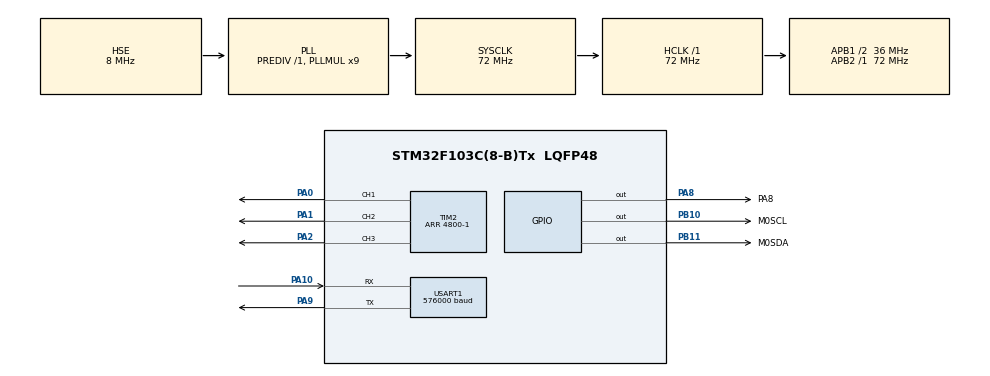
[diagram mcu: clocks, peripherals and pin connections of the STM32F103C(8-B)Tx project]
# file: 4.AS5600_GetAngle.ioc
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Dma.Request0=USART1_TX
Dma.USART1_TX.0.Direction=DMA_MEMORY_TO_PERIPH
Dma.USART1_TX.0.Instance=DMA1_Channel4
Dma.USART1_TX.0.MemDataAlignment=DMA_MDATAALIGN_BYTE
Dma.USART1_TX.0.MemInc=DMA_MINC_ENABLE
Dma.USART1_TX.0.Mode=DMA_NORMAL
Dma.USART1_TX.0.PeriphDataAlignment=DMA_PDATAALIGN_BYTE
Dma.USART1_TX.0.PeriphInc=DMA_PINC_DISABLE
Dma.USART1_TX.0.Priority=DMA_PRIORITY_LOW
Mcu.Family=STM32F1
Mcu.Name=STM32F103C(8-B)Tx
Mcu.Package=LQFP48
NVIC.DMA1_Channel4_IRQn=true\:0\:0\:false\:false\:true\:false\:true\:true
NVIC.PriorityGroup=NVIC_PRIORITYGROUP_4
NVIC.TIM4_IRQn=true\:0\:0\:false\:false\:true\:true\:true\:true
NVIC.USART1_IRQn=true\:0\:0\:false\:false\:true\:true\:true\:true
PA0-WKUP.Signal=S_TIM2_CH1_ETR
PA1.Signal=S_TIM2_CH2
PA10.Mode=Asynchronous
PA10.Signal=USART1_RX
PA13.Mode=Serial_Wire
PA13.Signal=SYS_JTMS-SWDIO
PA14.Mode=Serial_Wire
PA14.Signal=SYS_JTCK-SWCLK
PA2.Signal=S_TIM2_CH3
PA8.GPIO_Label=PA8
PA8.PinState=GPIO_PIN_SET
PA8.Signal=GPIO_Output
PA9.Mode=Asynchronous
PA9.Signal=USART1_TX
PB10.GPIO_Label=M0SCL
PB10.GPIO_ModeDefaultOutputPP=GPIO_MODE_OUTPUT_OD
PB10.GPIO_PuPd=GPIO_NOPULL
PB10.GPIO_Speed=GPIO_SPEED_FREQ_HIGH
PB10.PinState=GPIO_PIN_SET
PB10.Signal=GPIO_Output
PB11.GPIO_Label=M0SDA
PB11.GPIO_ModeDefaultOutputPP=GPIO_MODE_OUTPUT_OD
PB11.GPIO_PuPd=GPIO_NOPULL
PB11.GPIO_Speed=GPIO_SPEED_FREQ_HIGH
PB11.PinState=GPIO_PIN_SET
PB11.Signal=GPIO_Output
PD0-OSC_IN.Mode=HSE-External-Oscillator
PD0-OSC_IN.Signal=RCC_OSC_IN
PD1-OSC_OUT.Mode=HSE-External-Oscillator
PD1-OSC_OUT.Signal=RCC_OSC_OUT
ProjectManager.HeapSize=0x200
ProjectManager.StackSize=0x400
ProjectManager.TargetToolchain=STM32CubeIDE
RCC.AHBFreq_Value=72000000
RCC.APB1CLKDivider=RCC_HCLK_DIV2
RCC.APB1Freq_Value=36000000
RCC.APB1TimFreq_Value=72000000
RCC.APB2Freq_Value=72000000
RCC.APB2TimFreq_Value=72000000
RCC.HCLKFreq_Value=72000000
RCC.PLLMUL=RCC_PLL_MUL9
RCC.PLLSourceVirtual=RCC_PLLSOURCE_HSE
RCC.SYSCLKFreq_VALUE=72000000
RCC.SYSCLKSource=RCC_SYSCLKSOURCE_PLLCLK
RCC.USBFreq_Value=72000000
SH.S_TIM2_CH1_ETR.0=TIM2_CH1,PWM Generation1 CH1
SH.S_TIM2_CH2.0=TIM2_CH2,PWM Generation2 CH2
SH.S_TIM2_CH3.0=TIM2_CH3,PWM Generation3 CH3
TIM2.Channel-PWM\ Generation1\ CH1=TIM_CHANNEL_1
TIM2.Channel-PWM\ Generation2\ CH2=TIM_CHANNEL_2
TIM2.Channel-PWM\ Generation3\ CH3=TIM_CHANNEL_3
TIM2.Period=4800-1
TIM4.Period=1000-1
TIM4.Prescaler=72-1
USART1.BaudRate=576000
USART1.VirtualMode=VM_ASYNC
VP_TIM2_VS_ClockSourceINT.Mode=Internal
VP_TIM4_VS_ClockSourceINT.Mode=Internal
board=custom

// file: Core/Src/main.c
/* USER CODE BEGIN Header */
/**
  ******************************************************************************
  * @file           : main.c
  * @brief          : Main program body
  ******************************************************************************
  * @attention
  *
  * Copyright (c) 2025 STMicroelectronics.
  * All rights reserved.
  *
  * This software is licensed under terms that can be found in the LICENSE file
  * in the root directory of this software component.
  * If no LICENSE file comes with this software, it is provided AS-IS.
  *
  ******************************************************************************
  */
/* USER CODE END Header */
#include "main.h"
#include "dma.h"
#include "tim.h"
#include "usart.h"
#include "gpio.h"

/* USER CODE BEGIN Includes */
#include "../hhSerial/hhSerial.h"
#include "../hhPwm/hhPwm.h"
#include "../hhFoc/hhFoc.h"
#include "../hhAS5600/hhAS5600.h"
#include"math.h"
#include "mystrop.h"
/* USER CODE END Includes */

/* USER CODE BEGIN PV */
uint8_t  Flag_1ms=0;
void HAL_TIM_PeriodElapsedCallback(TIM_HandleTypeDef *htim){
	if(htim==&htim4){
		Flag_1ms=1;
	}
}
/* USER CODE END PV */

void SystemClock_Config(void);

/* USER CODE BEGIN 0 */
int CountOutPut = 0;
/* USER CODE END 0 */

int main(void)
{

  /* MCU Configuration--------------------------------------------------------*/

  /* Reset of all peripherals, Initializes the Flash interface and the Systick. */
  HAL_Init();

  /* Configure the system clock */
  SystemClock_Config();

  /* Initialize all configured peripherals */
  MX_GPIO_Init();
  MX_DMA_Init();
  MX_USART1_UART_Init();
  MX_TIM2_Init();
  MX_TIM4_Init();
  /* USER CODE BEGIN 2 */
  hhFocInit(12.6,7, -1);
  printf_uart=&huart1;
//  float RetFloat1;
//  float RetFloat2;
  /* USER CODE END 2 */

  /* Infinite loop */
  /* USER CODE BEGIN WHILE */
  while (1)
  {
//	  RetFloat1= GetSerialRetFloat1();
	  if(Flag_1ms==1){
		  Sensor_update();
		  Flag_1ms=0;
	  }
	  CountOutPut++;
	  if (CountOutPut >= 1000) {
//		Serial_Printf("%f,%f\r\n", AS5600M0.angle_Cur, AS5600M0.angleWithout_track_Cur);
		printf("%.3f,%.3f\n", AS5600M0.angle_Cur, AS5600M0.angleWithout_track_Cur);
	    CountOutPut = 0;
	  }
    /* USER CODE END WHILE */

  }
}

void SystemClock_Config(void)
{
  RCC_OscInitTypeDef RCC_OscInitStruct = {0};
  RCC_ClkInitTypeDef RCC_ClkInitStruct = {0};

  /** Initializes the RCC Oscillators according to the specified parameters
  * in the RCC_OscInitTypeDef structure.
  */
  RCC_OscInitStruct.OscillatorType = RCC_OSCILLATORTYPE_HSE;
  RCC_OscInitStruct.HSEState = RCC_HSE_ON;
  RCC_OscInitStruct.HSEPredivValue = RCC_HSE_PREDIV_DIV1;
  RCC_OscInitStruct.HSIState = RCC_HSI_ON;
  RCC_OscInitStruct.PLL.PLLState = RCC_PLL_ON;
  RCC_OscInitStruct.PLL.PLLSource = RCC_PLLSOURCE_HSE;
  RCC_OscInitStruct.PLL.PLLMUL = RCC_PLL_MUL9;
  if (HAL_RCC_OscConfig(&RCC_OscInitStruct) != HAL_OK)
  {
    Error_Handler();
  }

  /** Initializes the CPU, AHB and APB buses clocks
  */
  RCC_ClkInitStruct.ClockType = RCC_CLOCKTYPE_HCLK|RCC_CLOCKTYPE_SYSCLK
                              |RCC_CLOCKTYPE_PCLK1|RCC_CLOCKTYPE_PCLK2;
  RCC_ClkInitStruct.SYSCLKSource = RCC_SYSCLKSOURCE_PLLCLK;
  RCC_ClkInitStruct.AHBCLKDivider = RCC_SYSCLK_DIV1;
  RCC_ClkInitStruct.APB1CLKDivider = RCC_HCLK_DIV2;
  RCC_ClkInitStruct.APB2CLKDivider = RCC_HCLK_DIV1;

  if (HAL_RCC_ClockConfig(&RCC_ClkInitStruct, FLASH_LATENCY_2) != HAL_OK)
  {
    Error_Handler();
  }
}

void Error_Handler(void)
{
  __disable_irq();
  while (1)
  {
  }
}
#ifdef USE_FULL_ASSERT
/**
  * @brief  Reports the name of the source file and the source line number
  *         where the assert_param error has occurred.
  * @param  file: pointer to the source file name
  * @param  line: assert_param error line source number
  * @retval None
  */
void assert_failed(uint8_t *file, uint32_t line)
{
  /* USER CODE BEGIN 6 */
	//	野生绿波电龙：518379509
	//	qq：799382581
  /* User can add his own implementation to report the file name and line number,
     ex: printf("Wrong parameters value: file %s on line %d\r\n", file, line) */
  /* USER CODE END 6 */
}
#endif /* USE_FULL_ASSERT */
